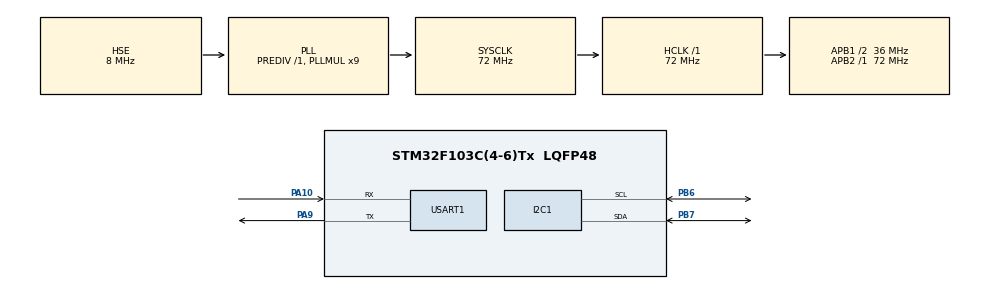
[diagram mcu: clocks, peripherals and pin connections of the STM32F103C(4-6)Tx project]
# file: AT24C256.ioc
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Mcu.Family=STM32F1
Mcu.Name=STM32F103C(4-6)Tx
Mcu.Package=LQFP48
NVIC.PriorityGroup=NVIC_PRIORITYGROUP_4
NVIC.USART1_IRQn=true\:0\:0\:false\:false\:true\:true\:true\:true
PA10.Mode=Asynchronous
PA10.Signal=USART1_RX
PA13.Mode=Serial_Wire
PA13.Signal=SYS_JTMS-SWDIO
PA14.Mode=Serial_Wire
PA14.Signal=SYS_JTCK-SWCLK
PA9.Mode=Asynchronous
PA9.Signal=USART1_TX
PB6.Mode=I2C
PB6.Signal=I2C1_SCL
PB7.Mode=I2C
PB7.Signal=I2C1_SDA
PD0-OSC_IN.Mode=HSE-External-Oscillator
PD0-OSC_IN.Signal=RCC_OSC_IN
PD1-OSC_OUT.Mode=HSE-External-Oscillator
PD1-OSC_OUT.Signal=RCC_OSC_OUT
ProjectManager.HeapSize=0x200
ProjectManager.StackSize=0x400
ProjectManager.TargetToolchain=STM32CubeIDE
RCC.AHBFreq_Value=72000000
RCC.APB1CLKDivider=RCC_HCLK_DIV2
RCC.APB1Freq_Value=36000000
RCC.APB1TimFreq_Value=72000000
RCC.APB2Freq_Value=72000000
RCC.APB2TimFreq_Value=72000000
RCC.HCLKFreq_Value=72000000
RCC.PLLMUL=RCC_PLL_MUL9
RCC.PLLSourceVirtual=RCC_PLLSOURCE_HSE
RCC.SYSCLKFreq_VALUE=72000000
RCC.SYSCLKSource=RCC_SYSCLKSOURCE_PLLCLK
RCC.USBFreq_Value=72000000
USART1.VirtualMode=VM_ASYNC
board=custom

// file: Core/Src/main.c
/* USER CODE BEGIN Header */
/**
  ******************************************************************************
  * @file           : main.c
  * @brief          : Main program body
  ******************************************************************************
  * @attention
  *
  * Copyright (c) 2026 STMicroelectronics.
  * All rights reserved.
  *
  * This software is licensed under terms that can be found in the LICENSE file
  * in the root directory of this software component.
  * If no LICENSE file comes with this software, it is provided AS-IS.
  *
  ******************************************************************************
  */
/* USER CODE END Header */
#include "main.h"

/* USER CODE BEGIN Includes */
#include <stdio.h>
#include <string.h>
#include <stdlib.h>
/* USER CODE END Includes */

I2C_HandleTypeDef hi2c1;

UART_HandleTypeDef huart1;

void SystemClock_Config(void);
static void MX_GPIO_Init(void);
static void MX_I2C1_Init(void);
static void MX_USART1_UART_Init(void);

/* USER CODE BEGIN 0 */
static void uart_print(const char *s)
{
    HAL_UART_Transmit(&huart1, (uint8_t *)s, strlen(s), 100);
}

#define EE_ADDR   (0x50 << 1)
#define EE_PAGE   64

static HAL_StatusTypeDef ee_write(uint16_t addr, const uint8_t *data, uint16_t len)
{
    while (len > 0)
    {
        // bytes left in the current 64-byte page
        uint16_t chunk = EE_PAGE - (addr % EE_PAGE);
        if (chunk > len) chunk = len;

        HAL_StatusTypeDef s = HAL_I2C_Mem_Write(&hi2c1, EE_ADDR, addr,
                                I2C_MEMADD_SIZE_16BIT, (uint8_t *)data, chunk, 100);
        if (s != HAL_OK) return s;

        // wait until the chip finishes its internal write cycle (about 5 ms)
        uint32_t t = HAL_GetTick();
        while (HAL_I2C_IsDeviceReady(&hi2c1, EE_ADDR, 1, 10) != HAL_OK)
            if (HAL_GetTick() - t > 20) return HAL_TIMEOUT;

        addr += chunk;
        data += chunk;
        len  -= chunk;
    }
    return HAL_OK;
}

static HAL_StatusTypeDef ee_read(uint16_t addr, uint8_t *data, uint16_t len)
{
    return HAL_I2C_Mem_Read(&hi2c1, EE_ADDR, addr,
                            I2C_MEMADD_SIZE_16BIT, data, len, 100);
}

/* ---------- UART receive (interrupt, ring buffer) ---------- */
#define RX_BUF_SIZE 128
#define LINE_MAX    100

static volatile uint8_t  rx_ring[RX_BUF_SIZE];
static volatile uint16_t rx_head = 0, rx_tail = 0;
static uint8_t rx_byte;

/* ---------- EEPROM commands ---------- */
static void cmd_save(char *args)
{
    uint8_t len = strlen(args);
    if (len == 0) { uart_print("usage: save <text>\r\n"); return; }

    uint8_t buf[LINE_MAX + 1];
    buf[0] = len;                       /* length byte at address 0 */
    memcpy(&buf[1], args, len);
    uart_print(ee_write(0x0000, buf, len + 1) == HAL_OK ? "saved\r\n"
                                                        : "write error\r\n");
}

static void cmd_load(char *args)
{
    (void)args;
    uint8_t len = 0;
    if (ee_read(0x0000, &len, 1) != HAL_OK) { uart_print("read error\r\n"); return; }
    if (len == 0 || len > LINE_MAX)         { uart_print("nothing stored\r\n"); return; }

    char buf[LINE_MAX + 1];
    ee_read(0x0001, (uint8_t *)buf, len);
    buf[len] = '\0';
    uart_print(buf);
    uart_print("\r\n");
}

static void cmd_clear(char *args)
{
    (void)args;
    uint8_t zero = 0;
    uart_print(ee_write(0x0000, &zero, 1) == HAL_OK ? "cleared\r\n"
                                                    : "write error\r\n");
}

static void cmd_dump(char *a)           /* dump <addr> [len] */
{
    char *end;
    uint32_t addr = strtoul(a, &end, 0);
    if (end == a) { uart_print("usage: dump <addr> [len]\r\n"); return; }
    a = end;
    uint32_t len = strtoul(a, &end, 0);
    if (end == a || len == 0) len = 32;
    if (len > 256) len = 256;
    if (addr + len > 0x8000) { uart_print("out of range\r\n"); return; }

    uint8_t buf[16];
    char m[96];
    for (uint32_t off = 0; off < len; off += 16)
    {
        uint16_t n = (len - off > 16) ? 16 : (len - off);
        if (ee_read(addr + off, buf, n) != HAL_OK) { uart_print("read error\r\n"); return; }
        int p = snprintf(m, sizeof(m), "%04lX: ", addr + off);
        for (uint16_t i = 0; i < n; i++)
            p += snprintf(m + p, sizeof(m) - p, "%02X ", buf[i]);
        snprintf(m + p, sizeof(m) - p, "\r\n");
        uart_print(m);
    }
}

static void cmd_wr(char *a)             /* wr <addr> <value> */
{
    char *end;
    uint32_t addr = strtoul(a, &end, 0);
    if (end == a) { uart_print("usage: wr <addr> <value>\r\n"); return; }
    a = end;
    uint32_t val = strtoul(a, &end, 0);
    if (end == a || addr > 0x7FFF || val > 255) { uart_print("usage: wr <addr> <value>\r\n"); return; }

    uint8_t b = (uint8_t)val;
    uart_print(ee_write((uint16_t)addr, &b, 1) == HAL_OK ? "ok\r\n" : "write error\r\n");
}

static void cmd_rd(char *a)             /* rd <addr> */
{
    char *end;
    uint32_t addr = strtoul(a, &end, 0);
    if (end == a || addr > 0x7FFF) { uart_print("usage: rd <addr>\r\n"); return; }

    uint8_t b;
    if (ee_read((uint16_t)addr, &b, 1) != HAL_OK) { uart_print("read error\r\n"); return; }
    char m[32];
    snprintf(m, sizeof(m), "0x%02X (%u)\r\n", b, b);
    uart_print(m);
}

static void cmd_help(char *args);

/* ---------- command table ---------- */
typedef struct {
    const char *name;
    void (*fn)(char *args);
    const char *help;
} cmd_t;

static const cmd_t cmds[] = {
    { "help",  cmd_help,  "list commands" },
    { "save",  cmd_save,  "save <text>      store text in EEPROM" },
    { "load",  cmd_load,  "load             print stored text" },
    { "clear", cmd_clear, "clear            forget stored text" },
    { "dump",  cmd_dump,  "dump <addr> [len] hex dump" },
    { "wr",    cmd_wr,    "wr <addr> <val>  write one byte" },
    { "rd",    cmd_rd,    "rd <addr>        read one byte" },
};
#define NUM_CMDS (sizeof(cmds) / sizeof(cmds[0]))

static void cmd_help(char *args)
{
    (void)args;
    for (size_t i = 0; i < NUM_CMDS; i++)
    {
        uart_print(cmds[i].help);
        uart_print("\r\n");
    }
}

/* ---------- parser ---------- */
static void shell_execute(char *l)
{
    while (*l == ' ') l++;
    char *args = l;
    while (*args && *args != ' ') args++;
    if (*args) { *args++ = '\0'; while (*args == ' ') args++; }

    for (size_t i = 0; i < NUM_CMDS; i++)
    {
        if (strcmp(l, cmds[i].name) == 0) { cmds[i].fn(args); return; }
    }
    uart_print("unknown command, type help\r\n");
}

/* ---------- line editor, called from the main loop ---------- */
static char     line[LINE_MAX];
static uint16_t line_len = 0;

static void shell_poll(void)
{
    while (rx_tail != rx_head)
    {
        uint8_t c = rx_ring[rx_tail];
        rx_tail = (rx_tail + 1) % RX_BUF_SIZE;

        if (c == '\r' || c == '\n')
        {
            if (line_len > 0)               /* ignores the second char of CR+LF */
            {
                line[line_len] = '\0';
                uart_print("\r\n");
                shell_execute(line);
                line_len = 0;
                uart_print("> ");
            }
        }
        else if (c == 0x08 || c == 0x7F)    /* backspace */
        {
            if (line_len > 0) { line_len--; uart_print("\b \b"); }
        }
        else if (c >= 32 && c < 127 && line_len < LINE_MAX - 1)
        {
            line[line_len++] = (char)c;
            HAL_UART_Transmit(&huart1, &c, 1, 10);   /* echo */
        }
    }
}
/* USER CODE END 0 */

int main(void)
{

  /* MCU Configuration--------------------------------------------------------*/

  /* Reset of all peripherals, Initializes the Flash interface and the Systick. */
  HAL_Init();

  /* Configure the system clock */
  SystemClock_Config();

  /* Initialize all configured peripherals */
  MX_GPIO_Init();
  MX_I2C1_Init();
  MX_USART1_UART_Init();
  /* USER CODE BEGIN 2 */
  HAL_Delay(100);

  // Release the pins from I2C and test them as plain inputs
  /* USER CODE BEGIN 2 */
  HAL_Delay(100);

  {
      uint8_t wr = 0x43;
      uint8_t rd = 0;
      char msg[64];

      HAL_StatusTypeDef w = HAL_I2C_Mem_Write(&hi2c1, 0x50 << 1, 0x0000,
                                              I2C_MEMADD_SIZE_16BIT, &wr, 1, 100);
      HAL_Delay(5);   // wait for the write cycle

      HAL_StatusTypeDef r = HAL_I2C_Mem_Read(&hi2c1, 0x50 << 1, 0x0000,
                                             I2C_MEMADD_SIZE_16BIT, &rd, 1, 100);

      snprintf(msg, sizeof(msg), "write=%d read=%d value=0x%02X\r\n", w, r, rd);
      uart_print(msg);
  }
  HAL_Delay(100);
  HAL_UART_Receive_IT(&huart1, &rx_byte, 1);
  uart_print("\r\nEEPROM shell ready, type help\r\n> ");
  /* USER CODE END 2 */

  /* Infinite loop */
  /* USER CODE BEGIN WHILE */
  while (1)
  {
	    shell_poll();
    /* USER CODE END WHILE */

  }
}

void SystemClock_Config(void)
{
  RCC_OscInitTypeDef RCC_OscInitStruct = {0};
  RCC_ClkInitTypeDef RCC_ClkInitStruct = {0};

  /** Initializes the RCC Oscillators according to the specified parameters
  * in the RCC_OscInitTypeDef structure.
  */
  RCC_OscInitStruct.OscillatorType = RCC_OSCILLATORTYPE_HSE;
  RCC_OscInitStruct.HSEState = RCC_HSE_ON;
  RCC_OscInitStruct.HSEPredivValue = RCC_HSE_PREDIV_DIV1;
  RCC_OscInitStruct.HSIState = RCC_HSI_ON;
  RCC_OscInitStruct.PLL.PLLState = RCC_PLL_ON;
  RCC_OscInitStruct.PLL.PLLSource = RCC_PLLSOURCE_HSE;
  RCC_OscInitStruct.PLL.PLLMUL = RCC_PLL_MUL9;
  if (HAL_RCC_OscConfig(&RCC_OscInitStruct) != HAL_OK)
  {
    Error_Handler();
  }

  /** Initializes the CPU, AHB and APB buses clocks
  */
  RCC_ClkInitStruct.ClockType = RCC_CLOCKTYPE_HCLK|RCC_CLOCKTYPE_SYSCLK
                              |RCC_CLOCKTYPE_PCLK1|RCC_CLOCKTYPE_PCLK2;
  RCC_ClkInitStruct.SYSCLKSource = RCC_SYSCLKSOURCE_PLLCLK;
  RCC_ClkInitStruct.AHBCLKDivider = RCC_SYSCLK_DIV1;
  RCC_ClkInitStruct.APB1CLKDivider = RCC_HCLK_DIV2;
  RCC_ClkInitStruct.APB2CLKDivider = RCC_HCLK_DIV1;

  if (HAL_RCC_ClockConfig(&RCC_ClkInitStruct, FLASH_LATENCY_2) != HAL_OK)
  {
    Error_Handler();
  }
}

static void MX_I2C1_Init(void)
{

  hi2c1.Instance = I2C1;
  hi2c1.Init.ClockSpeed = 100000;
  hi2c1.Init.DutyCycle = I2C_DUTYCYCLE_2;
  hi2c1.Init.OwnAddress1 = 0;
  hi2c1.Init.AddressingMode = I2C_ADDRESSINGMODE_7BIT;
  hi2c1.Init.DualAddressMode = I2C_DUALADDRESS_DISABLE;
  hi2c1.Init.OwnAddress2 = 0;
  hi2c1.Init.GeneralCallMode = I2C_GENERALCALL_DISABLE;
  hi2c1.Init.NoStretchMode = I2C_NOSTRETCH_DISABLE;
  if (HAL_I2C_Init(&hi2c1) != HAL_OK)
  {
    Error_Handler();
  }

}

static void MX_USART1_UART_Init(void)
{

  huart1.Instance = USART1;
  huart1.Init.BaudRate = 115200;
  huart1.Init.WordLength = UART_WORDLENGTH_8B;
  huart1.Init.StopBits = UART_STOPBITS_1;
  huart1.Init.Parity = UART_PARITY_NONE;
  huart1.Init.Mode = UART_MODE_TX_RX;
  huart1.Init.HwFlowCtl = UART_HWCONTROL_NONE;
  huart1.Init.OverSampling = UART_OVERSAMPLING_16;
  if (HAL_UART_Init(&huart1) != HAL_OK)
  {
    Error_Handler();
  }

}

static void MX_GPIO_Init(void)
{

  /* GPIO Ports Clock Enable */
  __HAL_RCC_GPIOD_CLK_ENABLE();
  __HAL_RCC_GPIOA_CLK_ENABLE();
  __HAL_RCC_GPIOB_CLK_ENABLE();

}

/* USER CODE BEGIN 4 */
void HAL_UART_RxCpltCallback(UART_HandleTypeDef *huart)
{
    if (huart->Instance == USART1)
    {
        uint16_t next = (rx_head + 1) % RX_BUF_SIZE;
        if (next != rx_tail) { rx_ring[rx_head] = rx_byte; rx_head = next; }
        HAL_UART_Receive_IT(&huart1, &rx_byte, 1);   /* re-arm for the next byte */
    }
}

void HAL_UART_ErrorCallback(UART_HandleTypeDef *huart)
{
    if (huart->Instance == USART1)
        HAL_UART_Receive_IT(&huart1, &rx_byte, 1);   /* recover from overrun/noise */
}
/* USER CODE END 4 */

void Error_Handler(void)
{
  __disable_irq();
  while (1)
  {
  }
}
